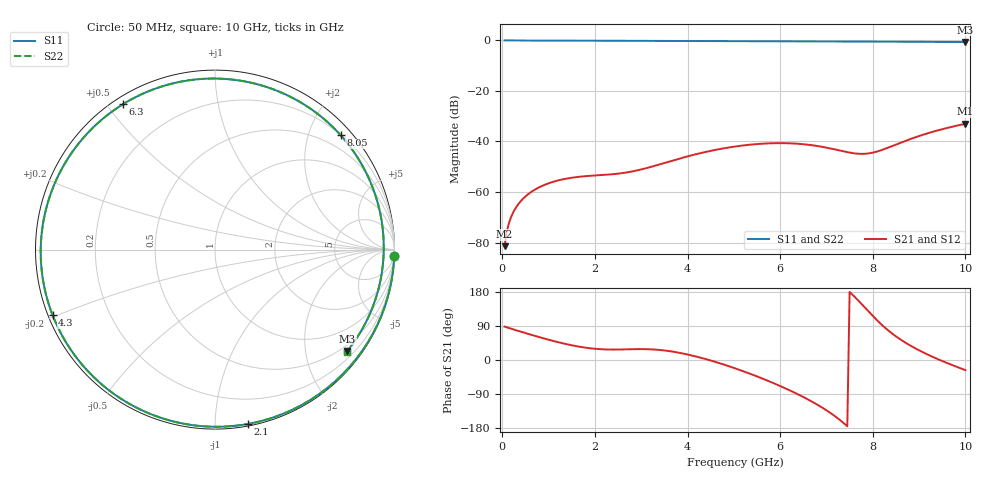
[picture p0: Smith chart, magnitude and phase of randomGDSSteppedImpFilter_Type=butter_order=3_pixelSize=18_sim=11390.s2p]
! freq	dB(S11)	phase(S11)	dB(S12)	phase(S12)
!  dB(S21)	phase(S21)	dB(S22)	phase(S22)
!S-par simulation data
#  GHz  S  DB  R 50
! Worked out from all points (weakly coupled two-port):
!   200 points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, 50 MHz to 10 GHz, reference 50 ohm
!   highest |S21| = -32.98 dB at 10 GHz (marker M1); lowest = -81.4 dB at 50 MHz (marker M2)
!   lowest |S11| = -0.6 dB at 10 GHz (marker M3), VSWR 26.92, Z = 17.8 - j146 ohm
!   |S11| at or under -10 dB: nowhere
!   |S22| runs from -0.6 to 0.0 dB; largest |S21 - S12| = 0
!   S11 on the Smith chart (normalised r, x): 50 MHz: 1, -58; 2.1 GHz: 0.01, -1.21; 4.3 GHz: 0.01, -0.19; 6.3 GHz: 0.03, +0.55; 8.05 GHz: 0.21, +2.57; 10 GHz: 0.36, -2.91
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0.05  -0.00 -2.0  -81.45 88.0  -81.45 88.0  -0.00 -2.0
0.1  -0.01 -3.9  -75.44 86.1  -75.44 86.1  -0.01 -3.9
0.2  -0.01 -7.8  -69.47 82.2  -69.47 82.2  -0.01 -7.8
0.35  -0.02 -13.6  -64.71 76.6  -64.71 76.6  -0.02 -13.6
0.5  -0.02 -19.3  -61.76 71.0  -61.76 71.0  -0.02 -19.4
1  -0.05 -38.4  -56.55 53.5  -56.55 53.5  -0.05 -38.5
1.75  -0.08 -66.5  -53.81 33.4  -53.81 33.4  -0.08 -66.5
2.1  -0.10 -79.2  -53.34 28.7  -53.34 28.7  -0.10 -79.3
2.75  -0.13 -102.6  -52.06 28.4  -52.06 28.4  -0.13 -102.7
3.4  -0.16 -125.8  -49.05 26.5  -49.05 26.5  -0.16 -125.8
4.3  -0.21 -158.1  -44.52 5.5  -44.52 5.5  -0.21 -158.2
5.05  -0.27 173.8  -41.93 -23.0  -41.93 -23.0  -0.27 173.6
5.65  -0.31 149.9  -40.83 -50.6  -40.83 -50.6  -0.32 149.7
6.3  -0.37 122.4  -40.80 -85.5  -40.80 -85.5  -0.37 122.1
6.7  -0.40 104.6  -41.51 -110.7  -41.51 -110.7  -0.40 104.3
7.35  -0.44 74.8  -43.84 -164.2  -43.84 -164.2  -0.44 74.4
7.75  -0.46 56.2  -44.90 148.8  -44.90 148.8  -0.46 55.8
8.05  -0.47 42.4  -44.19 109.9  -44.19 109.9  -0.48 41.9
8.35  -0.49 28.8  -42.31 76.4  -42.31 76.4  -0.49 28.3
8.7  -0.51 13.4  -39.79 46.2  -39.79 46.2  -0.51 13.0
9.1  -0.54 -3.3  -37.24 19.4  -37.24 19.4  -0.54 -3.8
10  -0.65 -37.4  -32.98 -26.7  -32.98 -26.7  -0.65 -37.8
